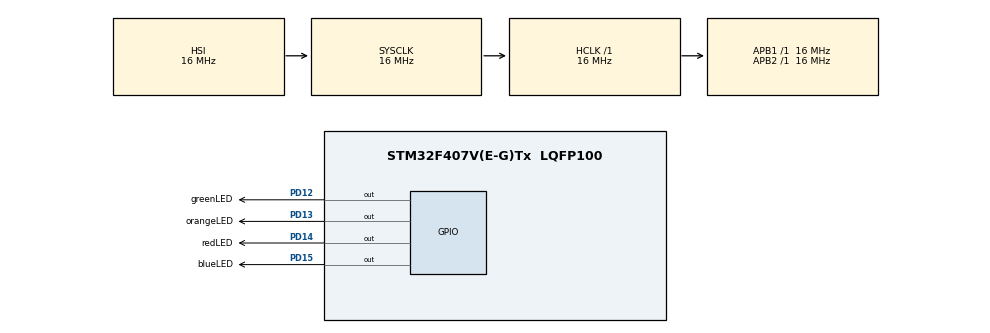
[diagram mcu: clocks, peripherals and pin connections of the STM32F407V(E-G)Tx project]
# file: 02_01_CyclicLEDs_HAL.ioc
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Mcu.Family=STM32F4
Mcu.Name=STM32F407V(E-G)Tx
Mcu.Package=LQFP100
NVIC.PriorityGroup=NVIC_PRIORITYGROUP_4
PD12.GPIO_Label=greenLED
PD12.Signal=GPIO_Output
PD13.GPIO_Label=orangeLED
PD13.Signal=GPIO_Output
PD14.GPIO_Label=redLED
PD14.Signal=GPIO_Output
PD15.GPIO_Label=blueLED
PD15.Signal=GPIO_Output
ProjectManager.HeapSize=0x200
ProjectManager.StackSize=0x400
ProjectManager.TargetToolchain=STM32CubeIDE
RCC.AHBFreq_Value=16000000
RCC.APB1Freq_Value=16000000
RCC.APB1TimFreq_Value=16000000
RCC.APB2Freq_Value=16000000
RCC.APB2TimFreq_Value=16000000
RCC.CortexFreq_Value=16000000
RCC.HCLKFreq_Value=16000000
RCC.HSE_VALUE=25000000
RCC.HSI_VALUE=16000000
RCC.LSE_VALUE=32768
RCC.SYSCLKFreq_VALUE=16000000
RCC.VCOOutputFreq_Value=192000000
board=custom

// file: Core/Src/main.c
/* USER CODE BEGIN Header */
/**
  ******************************************************************************
  * @file           : main.c
  * @brief          : Main program body
  ******************************************************************************
  * @attention
  *
  * Copyright (c) 2024 STMicroelectronics.
  * All rights reserved.
  *
  * This software is licensed under terms that can be found in the LICENSE file
  * in the root directory of this software component.
  * If no LICENSE file comes with this software, it is provided AS-IS.
  *
  ******************************************************************************
  */
/* USER CODE END Header */
#include "main.h"

void SystemClock_Config(void);
static void MX_GPIO_Init(void);
/* USER CODE BEGIN PFP */
void loadingWheel(uint16_t delay) __attribute__((unused));
void TurnOnLed(uint16_t GPIO_Pin);
void TurnOffLed(uint16_t GPIO_Pin);
void myDelay(uint16_t delay);
/* USER CODE END PFP */

int main(void)
{

  /* USER CODE BEGIN 1 */
	uint16_t delay = 200;
	uint8_t state = 0;
  /* USER CODE END 1 */

  /* MCU Configuration--------------------------------------------------------*/

  /* Reset of all peripherals, Initializes the Flash interface and the Systick. */
  HAL_Init();

  /* Configure the system clock */
  SystemClock_Config();

  /* Initialize all configured peripherals */
  MX_GPIO_Init();
  /* USER CODE BEGIN 2 */
  uint32_t freq = HAL_RCC_GetSysClockFreq();
  /* USER CODE END 2 */

  /* Infinite loop */
  /* USER CODE BEGIN WHILE */
  while (1)
  {
	  //loadingWheel(delay);

	  // TODO: think of more inteligent way to solve the same problem
	  switch(state) //display the current state
	  {
	  	  case 0:
	  		  TurnOnLed(greenLED_Pin);
			  TurnOffLed(orangeLED_Pin);
			  TurnOffLed(redLED_Pin);
			  TurnOffLed(blueLED_Pin);
			  break;
	  	  case 1:
			  TurnOffLed(greenLED_Pin);
			  TurnOnLed(orangeLED_Pin);
			  TurnOffLed(redLED_Pin);
			  TurnOffLed(blueLED_Pin);
			  break;
	  	  case 2:
			  TurnOffLed(greenLED_Pin);
			  TurnOffLed(orangeLED_Pin);
			  TurnOnLed(redLED_Pin);
			  TurnOffLed(blueLED_Pin);
			  break;
	  	  case 3:
	  		  TurnOffLed(greenLED_Pin);
			  TurnOffLed(orangeLED_Pin);
			  TurnOffLed(redLED_Pin);
			  TurnOnLed(blueLED_Pin);
	  		  break;
	  }
	  if ( ++state == 4 ) state=0;
	  myDelay(1000);     //Sets each loop cycle duration
	  //HAL_Delay(delay);
    /* USER CODE END WHILE */

  }
}

void SystemClock_Config(void)
{
  RCC_OscInitTypeDef RCC_OscInitStruct = {0};
  RCC_ClkInitTypeDef RCC_ClkInitStruct = {0};

  /** Configure the main internal regulator output voltage
  */
  __HAL_RCC_PWR_CLK_ENABLE();
  __HAL_PWR_VOLTAGESCALING_CONFIG(PWR_REGULATOR_VOLTAGE_SCALE1);

  /** Initializes the RCC Oscillators according to the specified parameters
  * in the RCC_OscInitTypeDef structure.
  */
  RCC_OscInitStruct.OscillatorType = RCC_OSCILLATORTYPE_HSI;
  RCC_OscInitStruct.HSIState = RCC_HSI_ON;
  RCC_OscInitStruct.HSICalibrationValue = RCC_HSICALIBRATION_DEFAULT;
  RCC_OscInitStruct.PLL.PLLState = RCC_PLL_NONE;
  if (HAL_RCC_OscConfig(&RCC_OscInitStruct) != HAL_OK)
  {
    Error_Handler();
  }

  /** Initializes the CPU, AHB and APB buses clocks
  */
  RCC_ClkInitStruct.ClockType = RCC_CLOCKTYPE_HCLK|RCC_CLOCKTYPE_SYSCLK
                              |RCC_CLOCKTYPE_PCLK1|RCC_CLOCKTYPE_PCLK2;
  RCC_ClkInitStruct.SYSCLKSource = RCC_SYSCLKSOURCE_HSI;
  RCC_ClkInitStruct.AHBCLKDivider = RCC_SYSCLK_DIV1;
  RCC_ClkInitStruct.APB1CLKDivider = RCC_HCLK_DIV1;
  RCC_ClkInitStruct.APB2CLKDivider = RCC_HCLK_DIV1;

  if (HAL_RCC_ClockConfig(&RCC_ClkInitStruct, FLASH_LATENCY_0) != HAL_OK)
  {
    Error_Handler();
  }
}

static void MX_GPIO_Init(void)
{
  GPIO_InitTypeDef GPIO_InitStruct = {0};

  /* GPIO Ports Clock Enable */
  __HAL_RCC_GPIOD_CLK_ENABLE();

  /*Configure GPIO pin Output Level */
  HAL_GPIO_WritePin(GPIOD, greenLED_Pin|orangeLED_Pin|redLED_Pin|blueLED_Pin, GPIO_PIN_RESET);

  /*Configure GPIO pins : greenLED_Pin orangeLED_Pin redLED_Pin blueLED_Pin */
  GPIO_InitStruct.Pin = greenLED_Pin|orangeLED_Pin|redLED_Pin|blueLED_Pin;
  GPIO_InitStruct.Mode = GPIO_MODE_OUTPUT_PP;
  GPIO_InitStruct.Pull = GPIO_NOPULL;
  GPIO_InitStruct.Speed = GPIO_SPEED_FREQ_LOW;
  HAL_GPIO_Init(GPIOD, &GPIO_InitStruct);

}

/* USER CODE BEGIN 4 */

void loadingWheel(uint16_t delay){

	HAL_GPIO_WritePin(GPIOD, greenLED_Pin, 1);
	HAL_GPIO_WritePin(GPIOD, orangeLED_Pin, 0);
	HAL_GPIO_WritePin(GPIOD, redLED_Pin, 0);
	HAL_GPIO_WritePin(GPIOD, blueLED_Pin, 0);
	HAL_Delay(delay);

	HAL_GPIO_WritePin(GPIOD, greenLED_Pin, 0);
	HAL_GPIO_WritePin(GPIOD, orangeLED_Pin, 1);
	HAL_GPIO_WritePin(GPIOD, redLED_Pin, 0);
	HAL_GPIO_WritePin(GPIOD, blueLED_Pin, 0);
	HAL_Delay(delay);

	HAL_GPIO_WritePin(GPIOD, greenLED_Pin, 0);
	HAL_GPIO_WritePin(GPIOD, orangeLED_Pin, 0);
	HAL_GPIO_WritePin(GPIOD, redLED_Pin, 1);
	HAL_GPIO_WritePin(GPIOD, blueLED_Pin, 0);
	HAL_Delay(delay);

	HAL_GPIO_WritePin(GPIOD, greenLED_Pin, 0);
	HAL_GPIO_WritePin(GPIOD, orangeLED_Pin, 0);
	HAL_GPIO_WritePin(GPIOD, redLED_Pin, 0);
	HAL_GPIO_WritePin(GPIOD, blueLED_Pin, 1);
	HAL_Delay(delay);
}

void TurnOnLed(uint16_t GPIO_Pin){
	GPIOD->BSRR |= GPIO_Pin;
}

void TurnOffLed(uint16_t GPIO_Pin){
	// writes it the eqivelent of BSRRH and disables the specific pin when we write 1 there
	GPIOD->BSRR |= GPIO_Pin << 16U;
}

void myDelay(uint16_t delay){
	//TODO something with the timer configuration
	uint32_t a = delay * 2000UL; //tested with HSI 16 MHz and is accurate
				     	 	 	 //TODO why so?
	while(a--);
	//how to calculate?
}
/* USER CODE END 4 */

void Error_Handler(void)
{
  __disable_irq();
  while (1)
  {
  }
}
